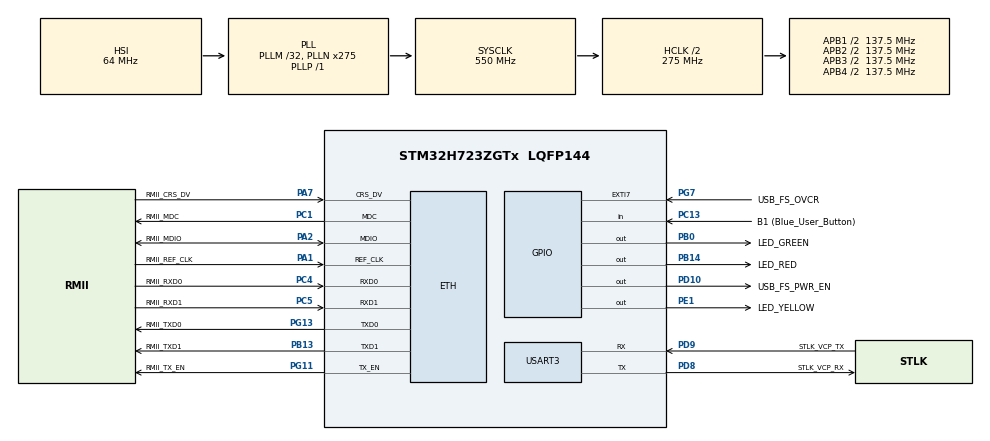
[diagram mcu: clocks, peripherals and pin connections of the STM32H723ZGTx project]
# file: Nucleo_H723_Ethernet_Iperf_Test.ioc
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CORTEX_M7.AccessPermission_S-Cortex_Memory_Protection_Unit_Region1_Settings_S=MPU_REGION_FULL_ACCESS
CORTEX_M7.AccessPermission_S-Cortex_Memory_Protection_Unit_Region2_Settings_S=MPU_REGION_FULL_ACCESS
CORTEX_M7.BaseAddress_S-Cortex_Memory_Protection_Unit_Region1_Settings_S=0x30000200
CORTEX_M7.BaseAddress_S-Cortex_Memory_Protection_Unit_Region2_Settings_S=0x30000000
CORTEX_M7.CPU_DCache=Enabled
CORTEX_M7.CPU_ICache=Enabled
CORTEX_M7.DisableExec_S-Cortex_Memory_Protection_Unit_Region1_Settings_S=MPU_INSTRUCTION_ACCESS_DISABLE
CORTEX_M7.DisableExec_S-Cortex_Memory_Protection_Unit_Region2_Settings_S=MPU_INSTRUCTION_ACCESS_DISABLE
CORTEX_M7.Enable_S-Cortex_Memory_Protection_Unit_Region1_Settings_S=MPU_REGION_ENABLE
CORTEX_M7.Enable_S-Cortex_Memory_Protection_Unit_Region2_Settings_S=MPU_REGION_ENABLE
CORTEX_M7.IsBufferable_S-Cortex_Memory_Protection_Unit_Region2_Settings_S=MPU_ACCESS_BUFFERABLE
CORTEX_M7.IsShareable_S-Cortex_Memory_Protection_Unit_Region2_Settings_S=MPU_ACCESS_SHAREABLE
CORTEX_M7.Size_S-Cortex_Memory_Protection_Unit_Region1_Settings_S=MPU_REGION_SIZE_32KB
CORTEX_M7.Size_S-Cortex_Memory_Protection_Unit_Region2_Settings_S=MPU_REGION_SIZE_512B
CORTEX_M7.TypeExtField_S-Cortex_Memory_Protection_Unit_Region1_Settings_S=MPU_TEX_LEVEL1
CORTEX_M7.default_mode_Activation=1
ETH.MediaInterface=HAL_ETH_RMII_MODE
ETH.RxBuffLen=1536
ETH.TxDescAddress=0x30000100
FREERTOS.HEAP_NUMBER=4
FREERTOS.Tasks01=defaultTask,24,512,StartDefaultTask,Default,NULL,Dynamic,NULL,NULL
FREERTOS.configCHECK_FOR_STACK_OVERFLOW=1
FREERTOS.configMINIMAL_STACK_SIZE=512
FREERTOS.configTOTAL_HEAP_SIZE=30720
FREERTOS.configUSE_NEWLIB_REENTRANT=1
LWIP.BSP.number=1
LWIP.DEFAULT_THREAD_STACKSIZE=2048
LWIP.GATEWAY_ADDRESS=192.168.015.001
LWIP.IP_ADDRESS=192.168.015.110
LWIP.LWIP_DHCP=0
LWIP.LWIP_RAM_HEAP_POINTER=0x30000200
LWIP.MEM_SIZE=32232
LWIP.NETMASK_ADDRESS=255.255.255.000
LWIP.TCPIP_THREAD_STACKSIZE=2048
LWIP.TCP_MSS=1460
LWIP.TCP_SND_BUF=5840
LWIP.TCP_SND_QUEUELEN=16
LWIP.TCP_WND=5840
LWIP.Version=v2.1.2_Cube
LWIP0.BSP.STBoard=false
LWIP0.BSP.api=BSP_COMPONENT_DRIVER
LWIP0.BSP.component=LAN8742
LWIP0.BSP.instance=LAN8742
LWIP0.BSP.name=Driver_PHY
LWIP0.BSP.semaphore=S_LAN8742
LWIP0.BSP.solution=LAN8742
Mcu.Family=STM32H7
Mcu.Name=STM32H723ZGTx
Mcu.Package=LQFP144
NVIC.ETH_IRQn=true\:5\:0\:true\:false\:true\:true\:true\:true\:true
NVIC.PriorityGroup=NVIC_PRIORITYGROUP_4
NVIC.TIM6_DAC_IRQn=true\:15\:0\:false\:false\:true\:false\:false\:true\:true
NVIC.TimeBase=TIM6_DAC_IRQn
NVIC.TimeBaseIP=TIM6
NVIC.USART3_IRQn=true\:5\:0\:false\:false\:true\:true\:true\:true\:true
PA1.GPIO_Label=RMII_REF_CLK
PA1.GPIO_Speed=GPIO_SPEED_FREQ_VERY_HIGH
PA1.Mode=RMII
PA1.Signal=ETH_REF_CLK
PA13(JTMS/SWDIO).GPIO_Label=SWDIO
PA13(JTMS/SWDIO).Mode=Trace_Asynchronous_SW
PA13(JTMS/SWDIO).Signal=DEBUG_JTMS-SWDIO
PA14(JTCK/SWCLK).GPIO_Label=SWCLK
PA14(JTCK/SWCLK).Mode=Trace_Asynchronous_SW
PA14(JTCK/SWCLK).Signal=DEBUG_JTCK-SWCLK
PA2.GPIO_Label=RMII_MDIO
PA2.GPIO_Speed=GPIO_SPEED_FREQ_VERY_HIGH
PA2.Mode=RMII
PA2.Signal=ETH_MDIO
PA7.GPIO_Label=RMII_CRS_DV
PA7.GPIO_Speed=GPIO_SPEED_FREQ_VERY_HIGH
PA7.Mode=RMII
PA7.Signal=ETH_CRS_DV
PB0.GPIO_Label=LED_GREEN
PB0.Signal=GPIO_Output
PB13.GPIO_Label=RMII_TXD1
PB13.GPIO_Speed=GPIO_SPEED_FREQ_VERY_HIGH
PB13.Mode=RMII
PB13.Signal=ETH_TXD1
PB14.GPIO_Label=LED_RED
PB14.Signal=GPIO_Output
PB3(JTDO/TRACESWO).GPIO_Label=SWO
PB3(JTDO/TRACESWO).Mode=Trace_Asynchronous_SW
PB3(JTDO/TRACESWO).Signal=DEBUG_JTDO-SWO
PC1.GPIO_Label=RMII_MDC
PC1.GPIO_Speed=GPIO_SPEED_FREQ_VERY_HIGH
PC1.Mode=RMII
PC1.Signal=ETH_MDC
PC13.GPIO_Label=B1 (Blue_User_Button)
PC13.Signal=GPIO_Input
PC14-OSC32_IN.Mode=LSE-External-Oscillator
PC14-OSC32_IN.Signal=RCC_OSC32_IN
PC15-OSC32_OUT.Mode=LSE-External-Oscillator
PC15-OSC32_OUT.Signal=RCC_OSC32_OUT
PC4.GPIO_Label=RMII_RXD0
PC4.GPIO_Speed=GPIO_SPEED_FREQ_VERY_HIGH
PC4.Mode=RMII
PC4.Signal=ETH_RXD0
PC5.GPIO_Label=RMII_RXD1
PC5.GPIO_Speed=GPIO_SPEED_FREQ_VERY_HIGH
PC5.Mode=RMII
PC5.Signal=ETH_RXD1
PD10.GPIO_Label=USB_FS_PWR_EN
PD10.Signal=GPIO_Output
PD8.GPIO_Label=STLK_VCP_RX
PD8.Mode=Asynchronous
PD8.Signal=USART3_TX
PD9.GPIO_Label=STLK_VCP_TX
PD9.Mode=Asynchronous
PD9.Signal=USART3_RX
PE1.GPIO_Label=LED_YELLOW
PE1.Signal=GPIO_Output
PG11.GPIO_Label=RMII_TX_EN
PG11.GPIO_Speed=GPIO_SPEED_FREQ_VERY_HIGH
PG11.Mode=RMII
PG11.Signal=ETH_TX_EN
PG13.GPIO_Label=RMII_TXD0
PG13.GPIO_Speed=GPIO_SPEED_FREQ_VERY_HIGH
PG13.Mode=RMII
PG13.Signal=ETH_TXD0
PG7.GPIO_Label=USB_FS_OVCR
PG7.Signal=GPXTI7
ProjectManager.HeapSize=0x1000
ProjectManager.StackSize=0x1000
ProjectManager.TargetToolchain=STM32CubeIDE
RCC.ADCFreq_Value=160000000
RCC.APB1Freq_Value=137500000
RCC.APB2Freq_Value=137500000
RCC.APB3Freq_Value=137500000
RCC.APB4Freq_Value=137500000
RCC.CortexFreq_Value=550000000
RCC.D1PPRE=RCC_APB3_DIV2
RCC.D2PPRE1=RCC_APB1_DIV2
RCC.D2PPRE2=RCC_APB2_DIV2
RCC.D3PPRE=RCC_APB4_DIV2
RCC.DIVM2=8
RCC.DIVN1=275
RCC.DIVN2=40
RCC.DIVP1=1
RCC.DIVQ1=4
RCC.HCLKFreq_Value=275000000
RCC.HPRE=RCC_HCLK_DIV2
RCC.HSE_VALUE=8000000
RCC.PLLFRACN=0
RCC.SYSCLKFreq_VALUE=550000000
RCC.SYSCLKSource=RCC_SYSCLKSOURCE_PLLCLK
RCC.USBCLockSelection=RCC_USBCLKSOURCE_HSI48
RCC.USBFreq_Value=48000000
USART3.VirtualMode-Asynchronous=VM_ASYNC
VP_FREERTOS_VS_CMSIS_V2.Mode=CMSIS_V2
VP_LWIP_VS_Enabled.Mode=Enabled
VP_SYS_VS_tim6.Mode=TIM6
board=NUCLEO-H723ZG

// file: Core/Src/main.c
/* USER CODE BEGIN Header */
/**
  ******************************************************************************
  * @file           : main.c
  * @brief          : Main program body
  ******************************************************************************
  * @attention
  *
  * Copyright (c) 2023 STMicroelectronics.
  * All rights reserved.
  *
  * This software is licensed under terms that can be found in the LICENSE file
  * in the root directory of this software component.
  * If no LICENSE file comes with this software, it is provided AS-IS.
  *
  ******************************************************************************
  */
/* USER CODE END Header */
#include "main.h"
#include "cmsis_os.h"
#include "lwip.h"

/* USER CODE BEGIN Includes */
/* ETH_CODE: add lwiperf, see comment in StartDefaultTask function */
#include "lwip/apps/lwiperf.h"
/* USER CODE END Includes */

UART_HandleTypeDef huart3;

/* Definitions for defaultTask */
osThreadId_t defaultTaskHandle;
const osThreadAttr_t defaultTask_attributes = {
  .name = "defaultTask",
  .stack_size = 512 * 4,
  .priority = (osPriority_t) osPriorityNormal,
};

void SystemClock_Config(void);
static void MPU_Initialize(void);
static void MPU_Config(void);
static void MX_GPIO_Init(void);
static void MX_USART3_UART_Init(void);
void StartDefaultTask(void *argument);

/* USER CODE BEGIN PFP */
#define True_STD
#ifdef KEIL
     #ifdef __GNUC__
     //With GCC, small printf (option LD Linker->Libraries->Small printf
     //set to 'Yes') calls __io_putchar()
         #define PUTCHAR_PROTOTYPE int __io_putchar(int ch)
		#else
				 #define PUTCHAR_PROTOTYPE int fputc(int ch, FILE *f)
		#endif /* __GNUC__*/
#endif

#ifdef True_STD
	int _write(int fd, char *str, int len)
	{
		for(int i=0; i<len; i++)
		{
			HAL_UART_Transmit(&huart3, (uint8_t *)&str[i], 1, 0xFFFF);
		}
		return len;
	}
#endif
	uint8_t rxData;
	uint8_t rx_buffer[2048]= {0,};
	int rx_index = 0;
	uint8_t rx_flag =0;
void HAL_UART_RxCpltCallback(UART_HandleTypeDef *huart) {

    /*
        This will be called once data is received successfully,
        via interrupts.
    */

     /*
       loop back received data
     */
     HAL_UART_Receive_IT(&huart3, &rxData, 1);
     if (rxData == '\n')
	 {
	   if (rx_buffer[rx_index - 1] == '\r')
	   {
		 rx_index--;
		 rx_flag = 1;
		 rx_buffer[rx_index] = 0;
	   }
	   else
	   {
		 rx_index = 0;
		 HAL_UART_Transmit(&huart3, "not support format\r\n", 20, 1000);
	   }
	 }
	 else if (rxData == 0x08) // back space
	 {
	   rx_index--;
	 }
	 else
	 {
	   rx_buffer[rx_index++] = rxData;
	 }
     HAL_UART_Transmit(&huart3, &rxData, 1, 1000);
}
/* USER CODE END PFP */

int main(void)
{

  /* Enable I-Cache---------------------------------------------------------*/
  SCB_EnableICache();

  /* Enable D-Cache---------------------------------------------------------*/
  SCB_EnableDCache();

  /* MCU Configuration--------------------------------------------------------*/

  /* Reset of all peripherals, Initializes the Flash interface and the Systick. */
  HAL_Init();

  /* MPU Configuration--------------------------------------------------------*/
  MPU_Config();

  /* Configure the system clock */
  SystemClock_Config();

  /* Initialize all configured peripherals */
  MX_GPIO_Init();
  MX_USART3_UART_Init();
  /* USER CODE BEGIN 2 */
printf("STM32H723 Ethernet Test\r\n");
  /* USER CODE END 2 */

  /* Init scheduler */
  osKernelInitialize();

  /* Create the thread(s) */
  /* creation of defaultTask */
  defaultTaskHandle = osThreadNew(StartDefaultTask, NULL, &defaultTask_attributes);

  /* Start scheduler */
  osKernelStart();

  /* We should never get here as control is now taken by the scheduler */
  /* Infinite loop */
  while (1)
  {

  }
}

void SystemClock_Config(void)
{
  RCC_OscInitTypeDef RCC_OscInitStruct = {0};
  RCC_ClkInitTypeDef RCC_ClkInitStruct = {0};

  /** Supply configuration update enable
  */
  HAL_PWREx_ConfigSupply(PWR_LDO_SUPPLY);

  /** Configure the main internal regulator output voltage
  */
  __HAL_PWR_VOLTAGESCALING_CONFIG(PWR_REGULATOR_VOLTAGE_SCALE0);

  while(!__HAL_PWR_GET_FLAG(PWR_FLAG_VOSRDY)) {}

  /** Initializes the RCC Oscillators according to the specified parameters
  * in the RCC_OscInitTypeDef structure.
  */
  RCC_OscInitStruct.OscillatorType = RCC_OSCILLATORTYPE_HSI;
  RCC_OscInitStruct.HSIState = RCC_HSI_DIV1;
  RCC_OscInitStruct.HSICalibrationValue = 64;
  RCC_OscInitStruct.PLL.PLLState = RCC_PLL_ON;
  RCC_OscInitStruct.PLL.PLLSource = RCC_PLLSOURCE_HSI;
  RCC_OscInitStruct.PLL.PLLM = 32;
  RCC_OscInitStruct.PLL.PLLN = 275;
  RCC_OscInitStruct.PLL.PLLP = 1;
  RCC_OscInitStruct.PLL.PLLQ = 4;
  RCC_OscInitStruct.PLL.PLLR = 2;
  RCC_OscInitStruct.PLL.PLLRGE = RCC_PLL1VCIRANGE_1;
  RCC_OscInitStruct.PLL.PLLVCOSEL = RCC_PLL1VCOWIDE;
  RCC_OscInitStruct.PLL.PLLFRACN = 0;
  if (HAL_RCC_OscConfig(&RCC_OscInitStruct) != HAL_OK)
  {
    Error_Handler();
  }

  /** Initializes the CPU, AHB and APB buses clocks
  */
  RCC_ClkInitStruct.ClockType = RCC_CLOCKTYPE_HCLK|RCC_CLOCKTYPE_SYSCLK
                              |RCC_CLOCKTYPE_PCLK1|RCC_CLOCKTYPE_PCLK2
                              |RCC_CLOCKTYPE_D3PCLK1|RCC_CLOCKTYPE_D1PCLK1;
  RCC_ClkInitStruct.SYSCLKSource = RCC_SYSCLKSOURCE_PLLCLK;
  RCC_ClkInitStruct.SYSCLKDivider = RCC_SYSCLK_DIV1;
  RCC_ClkInitStruct.AHBCLKDivider = RCC_HCLK_DIV2;
  RCC_ClkInitStruct.APB3CLKDivider = RCC_APB3_DIV2;
  RCC_ClkInitStruct.APB1CLKDivider = RCC_APB1_DIV2;
  RCC_ClkInitStruct.APB2CLKDivider = RCC_APB2_DIV2;
  RCC_ClkInitStruct.APB4CLKDivider = RCC_APB4_DIV2;

  if (HAL_RCC_ClockConfig(&RCC_ClkInitStruct, FLASH_LATENCY_3) != HAL_OK)
  {
    Error_Handler();
  }
}

static void MX_USART3_UART_Init(void)
{

  huart3.Instance = USART3;
  huart3.Init.BaudRate = 115200;
  huart3.Init.WordLength = UART_WORDLENGTH_8B;
  huart3.Init.StopBits = UART_STOPBITS_1;
  huart3.Init.Parity = UART_PARITY_NONE;
  huart3.Init.Mode = UART_MODE_TX_RX;
  huart3.Init.HwFlowCtl = UART_HWCONTROL_NONE;
  huart3.Init.OverSampling = UART_OVERSAMPLING_16;
  huart3.Init.OneBitSampling = UART_ONE_BIT_SAMPLE_DISABLE;
  huart3.Init.ClockPrescaler = UART_PRESCALER_DIV1;
  huart3.AdvancedInit.AdvFeatureInit = UART_ADVFEATURE_NO_INIT;
  if (HAL_UART_Init(&huart3) != HAL_OK)
  {
    Error_Handler();
  }
  if (HAL_UARTEx_SetTxFifoThreshold(&huart3, UART_TXFIFO_THRESHOLD_1_8) != HAL_OK)
  {
    Error_Handler();
  }
  if (HAL_UARTEx_SetRxFifoThreshold(&huart3, UART_RXFIFO_THRESHOLD_1_8) != HAL_OK)
  {
    Error_Handler();
  }
  if (HAL_UARTEx_DisableFifoMode(&huart3) != HAL_OK)
  {
    Error_Handler();
  }

}

static void MX_GPIO_Init(void)
{
  GPIO_InitTypeDef GPIO_InitStruct = {0};

  /* GPIO Ports Clock Enable */
  __HAL_RCC_GPIOC_CLK_ENABLE();
  __HAL_RCC_GPIOA_CLK_ENABLE();
  __HAL_RCC_GPIOB_CLK_ENABLE();
  __HAL_RCC_GPIOD_CLK_ENABLE();
  __HAL_RCC_GPIOG_CLK_ENABLE();
  __HAL_RCC_GPIOE_CLK_ENABLE();

  /*Configure GPIO pin Output Level */
  HAL_GPIO_WritePin(GPIOB, LED_GREEN_Pin|LED_RED_Pin, GPIO_PIN_RESET);

  /*Configure GPIO pin Output Level */
  HAL_GPIO_WritePin(USB_FS_PWR_EN_GPIO_Port, USB_FS_PWR_EN_Pin, GPIO_PIN_RESET);

  /*Configure GPIO pin Output Level */
  HAL_GPIO_WritePin(LED_YELLOW_GPIO_Port, LED_YELLOW_Pin, GPIO_PIN_RESET);

  /*Configure GPIO pin : B1_Pin */
  GPIO_InitStruct.Pin = B1_Pin;
  GPIO_InitStruct.Mode = GPIO_MODE_INPUT;
  GPIO_InitStruct.Pull = GPIO_NOPULL;
  HAL_GPIO_Init(B1_GPIO_Port, &GPIO_InitStruct);

  /*Configure GPIO pins : LED_GREEN_Pin LED_RED_Pin */
  GPIO_InitStruct.Pin = LED_GREEN_Pin|LED_RED_Pin;
  GPIO_InitStruct.Mode = GPIO_MODE_OUTPUT_PP;
  GPIO_InitStruct.Pull = GPIO_NOPULL;
  GPIO_InitStruct.Speed = GPIO_SPEED_FREQ_LOW;
  HAL_GPIO_Init(GPIOB, &GPIO_InitStruct);

  /*Configure GPIO pin : USB_FS_PWR_EN_Pin */
  GPIO_InitStruct.Pin = USB_FS_PWR_EN_Pin;
  GPIO_InitStruct.Mode = GPIO_MODE_OUTPUT_PP;
  GPIO_InitStruct.Pull = GPIO_NOPULL;
  GPIO_InitStruct.Speed = GPIO_SPEED_FREQ_LOW;
  HAL_GPIO_Init(USB_FS_PWR_EN_GPIO_Port, &GPIO_InitStruct);

  /*Configure GPIO pin : USB_FS_OVCR_Pin */
  GPIO_InitStruct.Pin = USB_FS_OVCR_Pin;
  GPIO_InitStruct.Mode = GPIO_MODE_IT_RISING;
  GPIO_InitStruct.Pull = GPIO_NOPULL;
  HAL_GPIO_Init(USB_FS_OVCR_GPIO_Port, &GPIO_InitStruct);

  /*Configure GPIO pin : LED_YELLOW_Pin */
  GPIO_InitStruct.Pin = LED_YELLOW_Pin;
  GPIO_InitStruct.Mode = GPIO_MODE_OUTPUT_PP;
  GPIO_InitStruct.Pull = GPIO_NOPULL;
  GPIO_InitStruct.Speed = GPIO_SPEED_FREQ_LOW;
  HAL_GPIO_Init(LED_YELLOW_GPIO_Port, &GPIO_InitStruct);

}

void StartDefaultTask(void *argument)
{
  /* init code for LWIP */
  MX_LWIP_Init();
  /* USER CODE BEGIN 5 */
  /* ETH_CODE: Adding lwiperf to measure TCP/IP performance.
     * iperf 2.0.6 (or older?) is required for the tests. Newer iperf2 versions
     * might work without data check, but they send different headers.
     * iperf3 is not compatible at all.
     * Adding lwiperf.c file to the project is necessary.
     * The default include path should already contain
     * 'lwip/apps/lwiperf.h'
     */
  	LOCK_TCPIP_CORE();
    lwiperf_start_tcp_server_default(NULL, NULL);

    ip4_addr_t remote_addr;
    IP4_ADDR(&remote_addr, 192, 168, 15, 7);
    lwiperf_start_tcp_client_default(&remote_addr, NULL, NULL);
    UNLOCK_TCPIP_CORE();
  /* Infinite loop */
  for(;;)
  {
      osDelay(1000);
  }
  /* USER CODE END 5 */
}

/* MPU Configuration */

void MPU_Config(void)
{
  MPU_Region_InitTypeDef MPU_InitStruct = {0};

  /* Disables the MPU */
  HAL_MPU_Disable();

  /** Initializes and configures the Region and the memory to be protected
  */
  MPU_InitStruct.Enable = MPU_REGION_ENABLE;
  MPU_InitStruct.Number = MPU_REGION_NUMBER0;
  MPU_InitStruct.BaseAddress = 0x0;
  MPU_InitStruct.Size = MPU_REGION_SIZE_4GB;
  MPU_InitStruct.SubRegionDisable = 0x87;
  MPU_InitStruct.TypeExtField = MPU_TEX_LEVEL0;
  MPU_InitStruct.AccessPermission = MPU_REGION_NO_ACCESS;
  MPU_InitStruct.DisableExec = MPU_INSTRUCTION_ACCESS_DISABLE;
  MPU_InitStruct.IsShareable = MPU_ACCESS_SHAREABLE;
  MPU_InitStruct.IsCacheable = MPU_ACCESS_NOT_CACHEABLE;
  MPU_InitStruct.IsBufferable = MPU_ACCESS_NOT_BUFFERABLE;

  HAL_MPU_ConfigRegion(&MPU_InitStruct);

  /** Initializes and configures the Region and the memory to be protected
  */
  MPU_InitStruct.Number = MPU_REGION_NUMBER1;
  MPU_InitStruct.BaseAddress = 0x30000200;
  MPU_InitStruct.Size = MPU_REGION_SIZE_32KB;
  MPU_InitStruct.SubRegionDisable = 0x0;
  MPU_InitStruct.TypeExtField = MPU_TEX_LEVEL1;
  MPU_InitStruct.AccessPermission = MPU_REGION_FULL_ACCESS;
  MPU_InitStruct.IsShareable = MPU_ACCESS_NOT_SHAREABLE;

  HAL_MPU_ConfigRegion(&MPU_InitStruct);

  /** Initializes and configures the Region and the memory to be protected
  */
  MPU_InitStruct.Number = MPU_REGION_NUMBER2;
  MPU_InitStruct.BaseAddress = 0x30000000;
  MPU_InitStruct.Size = MPU_REGION_SIZE_512B;
  MPU_InitStruct.TypeExtField = MPU_TEX_LEVEL0;
  MPU_InitStruct.IsShareable = MPU_ACCESS_SHAREABLE;
  MPU_InitStruct.IsBufferable = MPU_ACCESS_BUFFERABLE;

  HAL_MPU_ConfigRegion(&MPU_InitStruct);
  /* Enables the MPU */
  HAL_MPU_Enable(MPU_PRIVILEGED_DEFAULT);

}

void HAL_TIM_PeriodElapsedCallback(TIM_HandleTypeDef *htim)
{
  if (htim->Instance == TIM6) {
    HAL_IncTick();
  }
}

void Error_Handler(void)
{
  __disable_irq();
  while (1)
  {
  }
}

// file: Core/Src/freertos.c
/* USER CODE BEGIN Header */
/**
  ******************************************************************************
  * File Name          : freertos.c
  * Description        : Code for freertos applications
  ******************************************************************************
  * @attention
  *
  * Copyright (c) 2023 STMicroelectronics.
  * All rights reserved.
  *
  * This software is licensed under terms that can be found in the LICENSE file
  * in the root directory of this software component.
  * If no LICENSE file comes with this software, it is provided AS-IS.
  *
  ******************************************************************************
  */
/* USER CODE END Header */

#include "FreeRTOS.h"
#include "task.h"
#include "main.h"

/* Hook prototypes */
void vApplicationStackOverflowHook(xTaskHandle xTask, signed char *pcTaskName);

/* USER CODE BEGIN 4 */
void vApplicationStackOverflowHook(xTaskHandle xTask, signed char *pcTaskName)
{
   /* Run time stack overflow checking is performed if
   configCHECK_FOR_STACK_OVERFLOW is defined to 1 or 2. This hook function is
   called if a stack overflow is detected. */
   __BKPT(0);
}
/* USER CODE END 4 */
